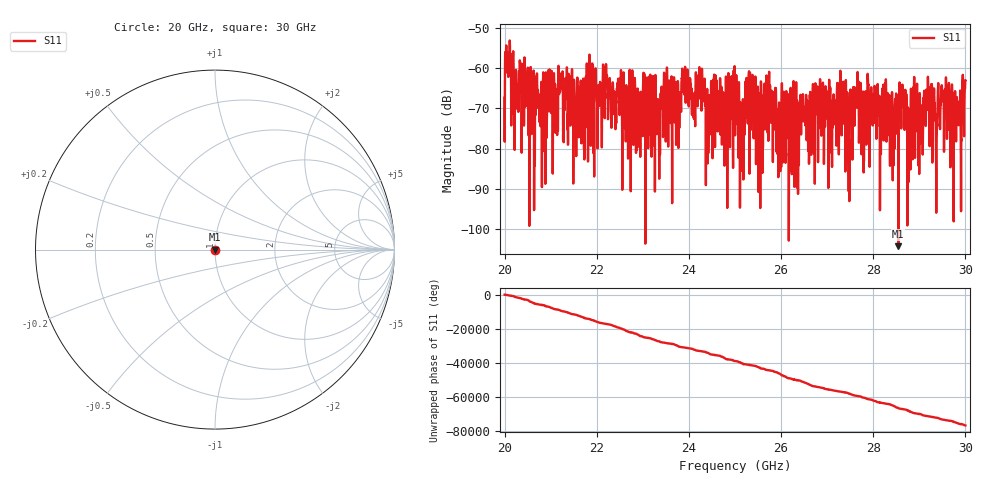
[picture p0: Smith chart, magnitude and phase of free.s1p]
#  HZ  S  RI  R  50.00
! Rohde & Schwarz ZVA40 4Ports - Version 3.90 - 1145.1110k42 SN: 100403
! Date: 2023-10-03 12:07:20
! Measurement: S12
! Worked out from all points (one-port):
!   5001 points, 20 GHz to 30 GHz, reference 50 ohm
!   lowest |S11| = -104.2 dB at 28.54 GHz (marker M1), VSWR 1.00, Z = 50 - j0.000486 ohm
!   |S11| at or under -10 dB: start of sweep to end of sweep
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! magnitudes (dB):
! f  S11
! 20 GHz  -67.3
! 20.08 GHz  -62.2
! 20.78 GHz  -74.4
! 21.25 GHz  -62.5
! 22.5 GHz  -65.2
! 22.64 GHz  -64.2
! 23.75 GHz  -66.7
! 23.89 GHz  -65.4
! 24.09 GHz  -68.0
! 24.25 GHz  -67.7
! 24.42 GHz  -73.7
! 25 GHz  -72.8
! 25.14 GHz  -83.4
! 25.34 GHz  -67.8
! 25.95 GHz  -71.9
! 26.25 GHz  -67.1
! 27.12 GHz  -70.7
! 27.32 GHz  -71.5
! 27.5 GHz  -65.5
! 27.63 GHz  -66.6
! 27.81 GHz  -69.1
! 28.23 GHz  -69.5
! 28.41 GHz  -66.1
! 28.54 GHz  -104.2
! 28.75 GHz  -70.3
! 29.23 GHz  -78.4
! 29.87 GHz  -69.0
! 30 GHz  -63.0
